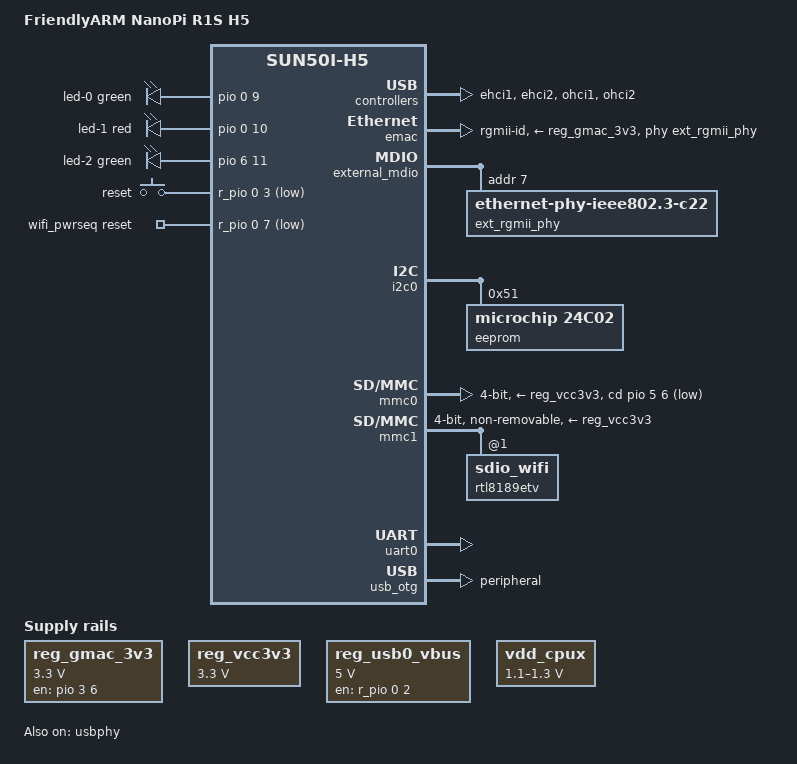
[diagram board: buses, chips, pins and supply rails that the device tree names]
// SPDX-License-Identifier: (GPL-2.0+ OR MIT)
/*
 * Copyright (C) 2021 Chukun Pan <amadeus@jmu.edu.cn>
 *
 * Based on sun50i-h5-nanopi-neo-plus2.dts, which is:
 *   Copyright (C) 2017 Antony Antony <antony@phenome.org>
 *   Copyright (C) 2016 ARM Ltd.
 */

/dts-v1/;
#include "sun50i-h5.dtsi"
#include "sun50i-h5-cpu-opp.dtsi"

#include <dt-bindings/gpio/gpio.h>
#include <dt-bindings/input/input.h>
#include <dt-bindings/leds/common.h>

/ {
	model = "FriendlyARM NanoPi R1S H5";
	compatible = "friendlyarm,nanopi-r1s-h5", "allwinner,sun50i-h5";

	aliases {
		ethernet0 = &emac;
		ethernet1 = &rtl8189etv;
		serial0 = &uart0;
	};

	chosen {
		stdout-path = "serial0:115200n8";
	};

	leds {
		compatible = "gpio-leds";

		led-0 {
			function = LED_FUNCTION_LAN;
			color = <LED_COLOR_ID_GREEN>;
			gpios = <&pio 0 9 GPIO_ACTIVE_HIGH>;
		};

		led-1 {
			function = LED_FUNCTION_STATUS;
			color = <LED_COLOR_ID_RED>;
			gpios = <&pio 0 10 GPIO_ACTIVE_HIGH>;
			linux,default-trigger = "heartbeat";
		};

		led-2 {
			function = LED_FUNCTION_WAN;
			color = <LED_COLOR_ID_GREEN>;
			gpios = <&pio 6 11 GPIO_ACTIVE_HIGH>;
		};
	};

	gpio-keys {
		compatible = "gpio-keys";

		key-reset {
			label = "reset";
			linux,code = <KEY_RESTART>;
			gpios = <&r_pio 0 3 GPIO_ACTIVE_LOW>;
		};
	};

	reg_gmac_3v3: gmac-3v3 {
		compatible = "regulator-fixed";
		regulator-name = "gmac-3v3";
		regulator-min-microvolt = <3300000>;
		regulator-max-microvolt = <3300000>;
		startup-delay-us = <100000>;
		enable-active-high;
		gpio = <&pio 3 6 GPIO_ACTIVE_HIGH>;
	};

	reg_vcc3v3: vcc3v3 {
		compatible = "regulator-fixed";
		regulator-name = "vcc3v3";
		regulator-min-microvolt = <3300000>;
		regulator-max-microvolt = <3300000>;
	};

	reg_usb0_vbus: usb0-vbus {
		compatible = "regulator-fixed";
		regulator-name = "usb0-vbus";
		regulator-min-microvolt = <5000000>;
		regulator-max-microvolt = <5000000>;
		enable-active-high;
		gpio = <&r_pio 0 2 GPIO_ACTIVE_HIGH>; /* PL2 */
		status = "okay";
	};

	vdd_cpux: gpio-regulator {
		compatible = "regulator-gpio";
		regulator-name = "vdd-cpux";
		regulator-type = "voltage";
		regulator-boot-on;
		regulator-always-on;
		regulator-min-microvolt = <1100000>;
		regulator-max-microvolt = <1300000>;
		regulator-ramp-delay = <50>; /* 4ms */
		gpios = <&r_pio 0 6 GPIO_ACTIVE_HIGH>;
		gpios-states = <0x1>;
		states = <1100000 0x0>, <1300000 0x1>;
	};

	wifi_pwrseq: wifi_pwrseq {
		compatible = "mmc-pwrseq-simple";
		reset-gpios = <&r_pio 0 7 GPIO_ACTIVE_LOW>; /* PL7 */
		post-power-on-delay-ms = <200>;
	};
};

&cpu0 {
	cpu-supply = <&vdd_cpux>;
};

&ehci1 {
	status = "okay";
};

&ehci2 {
	status = "okay";
};

&emac {
	pinctrl-names = "default";
	pinctrl-0 = <&emac_rgmii_pins>;
	phy-supply = <&reg_gmac_3v3>;
	phy-handle = <&ext_rgmii_phy>;
	phy-mode = "rgmii-id";
	status = "okay";
};

&external_mdio {
	ext_rgmii_phy: ethernet-phy@7 {
		compatible = "ethernet-phy-ieee802.3-c22";
		reg = <7>;
	};
};

&i2c0 {
	status = "okay";

	eeprom@51 {
		compatible = "microchip,24c02", "atmel,24c02";
		reg = <0x51>;
		pagesize = <16>;
		read-only;
		#address-cells = <1>;
		#size-cells = <1>;

		eth_mac1: mac-address@fa {
			reg = <0xfa 0x06>;
		};
	};
};

&mmc0 {
	vmmc-supply = <&reg_vcc3v3>;
	bus-width = <4>;
	cd-gpios = <&pio 5 6 GPIO_ACTIVE_LOW>; /* PF6 */
	status = "okay";
};

&mmc1 {
	vmmc-supply = <&reg_vcc3v3>;
	vqmmc-supply = <&reg_vcc3v3>;
	mmc-pwrseq = <&wifi_pwrseq>;
	bus-width = <4>;
	non-removable;
	status = "okay";

	rtl8189etv: sdio_wifi@1 {
		reg = <1>;
	};
};

&ohci1 {
	status = "okay";
};

&ohci2 {
	status = "okay";
};

&uart0 {
	pinctrl-names = "default";
	pinctrl-0 = <&uart0_pa_pins>;
	status = "okay";
};

&usb_otg {
	dr_mode = "peripheral";
	status = "okay";
};

&usbphy {
	/* USB Type-A port's VBUS is always on */
	usb0_id_det-gpios = <&pio 6 12 GPIO_ACTIVE_HIGH>; /* PG12 */
	usb0_vbus-supply = <&reg_usb0_vbus>;
	status = "okay";
};
